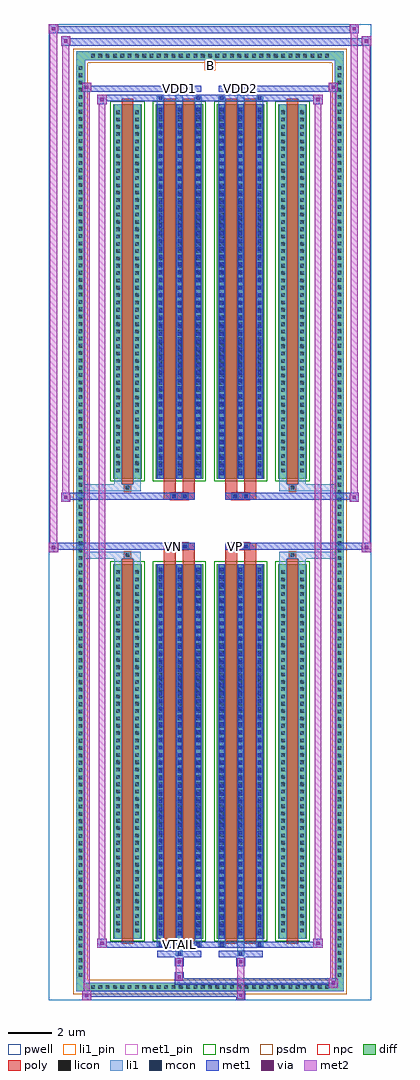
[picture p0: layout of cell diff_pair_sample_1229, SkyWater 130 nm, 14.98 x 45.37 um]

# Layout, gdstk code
import gdstk
lib = gdstk.Library(unit=1e-6, precision=5e-09)
def R(c, l, rs):  # rectangles x0, y0, x1, y1
    for r in rs: c.add(gdstk.rectangle(r[:2], r[2:], *l))
def A(c, l, x, y, w, h, nx, ny, dx, dy):  # array of equal rectangles
    R(c, l, [(x+i*dx, y+j*dy, x+i*dx+w, y+j*dy+h) for i in range(nx) for j in range(ny)])
def P(c, l, *ps):  # polygons
    for p in ps: c.add(gdstk.Polygon(p, *l))
pwell = (64, 44)
diff = (65, 20)
poly = (66, 20)
licon = (66, 44)
li1_pin = (67, 16)
li1 = (67, 20)
mcon = (67, 44)
met1_pin = (68, 16)
met1 = (68, 20)
via = (68, 44)
met2 = (69, 20)
nsdm = (93, 44)
psdm = (94, 20)
npc = (95, 20)

diff_pair_sample_1229 = lib.new_cell('diff_pair_sample_1229')
R(diff_pair_sample_1229, pwell, [(-7.49,-22.25,7.49,23.12), (-4.81,-20.44,-0.01,-0.8), (0.01,-20.44,4.81,-0.8), (-4.81,0.8,-0.01,20.44), (0.01,0.8,4.81,20.44)])
A(diff_pair_sample_1229, diff, -5.645, -21.85, 0.41, 0.41, 33, 2, 0.34, 43.29)
A(diff_pair_sample_1229, diff, -6.22, -21.285, 0.41, 0.41, 1, 125, 0, 0.34)
A(diff_pair_sample_1229, diff, 5.81, -21.285, 0.41, 0.41, 1, 125, 0, 0.34)
R(diff_pair_sample_1229, diff, [(-5.645,-21.85,5.645,-21.44), (-6.22,-21.285,-5.81,21.285), (5.81,-21.285,6.22,21.285), (-4.5,-19.395,-3.17,-1.985), (-2.53,-19.395,-0.32,-1.985), (0.32,-19.395,2.53,-1.985), (3.17,-19.395,4.5,-1.985), (-4.5,1.985,-3.17,19.395), (-2.53,1.985,-0.32,19.395), (0.32,1.985,2.53,19.395), (3.17,1.985,4.5,19.395), (-5.645,21.44,5.645,21.85)])
P(diff_pair_sample_1229, diff, [(6.22,21.85),(-6.22,21.85),(-6.22,-21.44),(-5.81,-21.44),(-5.81,21.44),(5.81,21.44),(5.81,-21.44),(-5.81,-21.44),(-6.22,-21.44),(-6.22,-21.85),(6.22,-21.85)])
R(diff_pair_sample_1229, poly, [(-4.11,-19.645,-3.56,-1.735), (-2.14,-19.645,-1.59,-1.735), (-1.26,-19.645,-0.71,-1.735), (0.71,-19.645,1.26,-1.735), (1.59,-19.645,2.14,-1.735), (3.56,-19.645,4.11,-1.735), (-4,-1.735,-3.67,-1.405), (-4,-1.735,-3.67,-1.405), (-2.14,-1.735,-1.59,-1.33), (-1.26,-1.735,-0.71,-1.33), (0.71,-1.735,1.26,-1.33), (1.59,-1.735,2.14,-1.33), (3.67,-1.735,4,-1.405), (3.67,-1.735,4,-1.405), (-2.14,-1.33,-0.71,-1), (-1.84,-1.33,-1.51,-1), (-1.34,-1.33,-1.01,-1), (0.71,-1.33,2.14,-1), (1.01,-1.33,1.34,-1), (1.51,-1.33,1.84,-1), (-2.14,1,-0.71,1.33), (-1.84,1,-1.51,1.33), (-1.34,1,-1.01,1.33), (0.71,1,2.14,1.33), (1.01,1,1.34,1.33), (1.51,1,1.84,1.33), (-2.14,1.33,-1.59,1.735), (-1.26,1.33,-0.71,1.735), (0.71,1.33,1.26,1.735), (1.59,1.33,2.14,1.735), (-4,1.405,-3.67,1.735), (-4,1.405,-3.67,1.735), (3.67,1.405,4,1.735), (3.67,1.405,4,1.735), (-4.11,1.735,-3.56,19.645), (-2.14,1.735,-1.59,19.645), (-1.26,1.735,-0.71,19.645), (0.71,1.735,1.26,19.645), (1.59,1.735,2.14,19.645), (3.56,1.735,4.11,19.645)])
A(diff_pair_sample_1229, licon, -5.525, -21.73, 0.17, 0.17, 33, 2, 0.34, 43.29)
A(diff_pair_sample_1229, licon, -6.1, -21.165, 0.17, 0.17, 1, 125, 0, 0.34)
A(diff_pair_sample_1229, licon, 5.93, -21.165, 0.17, 0.17, 1, 125, 0, 0.34)
A(diff_pair_sample_1229, licon, -4.36, -19.105, 0.17, 0.17, 1, 50, 0, 0.34)
A(diff_pair_sample_1229, licon, -3.48, -19.105, 0.17, 0.17, 1, 50, 0, 0.34)
A(diff_pair_sample_1229, licon, -2.39, -19.105, 0.17, 0.17, 3, 50, 0.88, 0.34)
A(diff_pair_sample_1229, licon, 0.46, -19.105, 0.17, 0.17, 3, 50, 0.88, 0.34)
A(diff_pair_sample_1229, licon, 3.31, -19.105, 0.17, 0.17, 1, 50, 0, 0.34)
A(diff_pair_sample_1229, licon, 4.19, -19.105, 0.17, 0.17, 1, 50, 0, 0.34)
A(diff_pair_sample_1229, licon, -4.36, 2.275, 0.17, 0.17, 1, 50, 0, 0.34)
A(diff_pair_sample_1229, licon, -3.48, 2.275, 0.17, 0.17, 1, 50, 0, 0.34)
A(diff_pair_sample_1229, licon, -2.39, 2.275, 0.17, 0.17, 3, 50, 0.88, 0.34)
A(diff_pair_sample_1229, licon, 0.46, 2.275, 0.17, 0.17, 3, 50, 0.88, 0.34)
A(diff_pair_sample_1229, licon, 3.31, 2.275, 0.17, 0.17, 1, 50, 0, 0.34)
A(diff_pair_sample_1229, licon, 4.19, 2.275, 0.17, 0.17, 1, 50, 0, 0.34)
R(diff_pair_sample_1229, licon, [(-3.92,-1.655,-3.75,-1.485), (3.75,-1.655,3.92,-1.485), (-1.76,-1.25,-1.59,-1.08), (-1.26,-1.25,-1.09,-1.08), (1.09,-1.25,1.26,-1.08), (1.59,-1.25,1.76,-1.08), (-1.76,1.08,-1.59,1.25), (-1.26,1.08,-1.09,1.25), (1.09,1.08,1.26,1.25), (1.59,1.08,1.76,1.25), (-3.92,1.485,-3.75,1.655), (3.75,1.485,3.92,1.655)])
R(diff_pair_sample_1229, li1_pin, [(-0.25,20.94,0.25,21.44)])
A(diff_pair_sample_1229, li1, -5.605, -21.81, 0.33, 0.33, 33, 2, 0.34, 43.29)
A(diff_pair_sample_1229, li1, -6.18, -21.245, 0.33, 0.33, 1, 125, 0, 0.34)
A(diff_pair_sample_1229, li1, 5.85, -21.245, 0.33, 0.33, 1, 125, 0, 0.34)
A(diff_pair_sample_1229, li1, -2.47, -19.395, 0.33, 17.41, 3, 2, 0.88, 21.38)
A(diff_pair_sample_1229, li1, 0.38, -19.395, 0.33, 17.41, 3, 2, 0.88, 21.38)
A(diff_pair_sample_1229, li1, -2.39, -19.235, 0.17, 0.17, 3, 48, 0.88, 0.36)
A(diff_pair_sample_1229, li1, -2.39, -19.235, 0.17, 17.09, 3, 2, 0.88, 21.38)
A(diff_pair_sample_1229, li1, 0.46, -19.235, 0.17, 0.17, 3, 48, 0.88, 0.36)
A(diff_pair_sample_1229, li1, 0.46, -19.235, 0.17, 17.09, 3, 2, 0.88, 21.38)
A(diff_pair_sample_1229, li1, -4.44, -19.185, 0.33, 0.33, 1, 50, 0, 0.34)
A(diff_pair_sample_1229, li1, -3.56, -19.185, 0.33, 0.33, 1, 50, 0, 0.34)
A(diff_pair_sample_1229, li1, -2.47, -19.185, 0.33, 0.33, 3, 50, 0.88, 0.34)
A(diff_pair_sample_1229, li1, 0.38, -19.185, 0.33, 0.33, 3, 50, 0.88, 0.34)
A(diff_pair_sample_1229, li1, 3.23, -19.185, 0.33, 0.33, 1, 50, 0, 0.34)
A(diff_pair_sample_1229, li1, 4.11, -19.185, 0.33, 0.33, 1, 50, 0, 0.34)
A(diff_pair_sample_1229, li1, -2.39, 2.145, 0.17, 0.17, 3, 48, 0.88, 0.36)
A(diff_pair_sample_1229, li1, 0.46, 2.145, 0.17, 0.17, 3, 48, 0.88, 0.36)
A(diff_pair_sample_1229, li1, -4.44, 2.195, 0.33, 0.33, 1, 50, 0, 0.34)
A(diff_pair_sample_1229, li1, -3.56, 2.195, 0.33, 0.33, 1, 50, 0, 0.34)
A(diff_pair_sample_1229, li1, -2.47, 2.195, 0.33, 0.33, 3, 50, 0.88, 0.34)
A(diff_pair_sample_1229, li1, 0.38, 2.195, 0.33, 0.33, 3, 50, 0.88, 0.34)
A(diff_pair_sample_1229, li1, 3.23, 2.195, 0.33, 0.33, 1, 50, 0, 0.34)
A(diff_pair_sample_1229, li1, 4.11, 2.195, 0.33, 0.33, 1, 50, 0, 0.34)
R(diff_pair_sample_1229, li1, [(-6.22,-21.85,-5.81,-21.44), (-6.22,-21.85,-5.81,-21.44), (-5.81,-21.85,5.81,-21.44), (5.81,-21.85,6.22,-21.44), (5.81,-21.85,6.22,-21.44), (-6.22,-21.44,-5.81,21.44), (5.81,-21.44,6.22,21.44), (-1.59,-20.2,-1.26,-19.395), (-1.51,-20.2,-1.34,-20.03), (1.26,-20.2,1.59,-19.395), (1.34,-20.2,1.51,-20.03), (-2.47,-19.77,-2.14,-19.395), (-2.39,-19.77,-2.22,-19.6), (-0.71,-19.77,-0.38,-19.395), (-0.63,-19.77,-0.46,-19.6), (0.38,-19.77,0.71,-19.395), (0.46,-19.77,0.63,-19.6), (2.14,-19.77,2.47,-19.395), (2.22,-19.77,2.39,-19.6), (-4.44,-19.395,-4.11,-1.985), (-3.56,-19.395,-3.23,-1.985), (3.23,-19.395,3.56,-1.985), (4.11,-19.395,4.44,-1.985), (-4.44,-1.985,-4.11,-1.405), (-3.56,-1.985,-3.23,-1.405), (3.23,-1.985,3.56,-1.405), (4.11,-1.985,4.44,-1.405), (-6.22,-1.735,-4,-1.405), (-4.44,-1.735,-4,-1.405), (-4,-1.735,-3.67,-1.405), (-3.67,-1.735,-3.23,-1.405), (3.23,-1.735,3.67,-1.405), (3.67,-1.735,4,-1.405), (3.67,-1.735,6.22,-1.405), (4,-1.735,4.44,-1.405), (-1.84,-1.33,-1.51,-1), (-1.34,-1.33,-1.01,-1), (1.01,-1.33,1.34,-1), (1.51,-1.33,1.84,-1), (-1.84,1,-1.51,1.33), (-1.34,1,-1.01,1.33), (1.01,1,1.34,1.33), (1.51,1,1.84,1.33), (-6.22,1.405,-4,1.735), (-4.44,1.405,-4,1.735), (-4.44,1.405,-4.11,1.985), (-4,1.405,-3.67,1.735), (-3.67,1.405,-3.23,1.735), (-3.56,1.405,-3.23,1.985), (3.23,1.405,3.67,1.735), (3.23,1.405,3.56,1.985), (3.67,1.405,4,1.735), (3.67,1.405,6.22,1.735), (4,1.405,4.44,1.735), (4.11,1.405,4.44,1.985), (-4.44,1.985,-4.11,19.395), (-3.56,1.985,-3.23,19.395), (3.23,1.985,3.56,19.395), (4.11,1.985,4.44,19.395), (-2.47,19.395,-2.14,19.77), (-1.59,19.395,-1.26,20.2), (-0.71,19.395,-0.38,19.77), (0.38,19.395,0.71,19.77), (1.26,19.395,1.59,20.2), (2.14,19.395,2.47,19.77), (-2.39,19.6,-2.22,19.77), (-0.63,19.6,-0.46,19.77), (0.46,19.6,0.63,19.77), (2.22,19.6,2.39,19.77), (-1.51,20.03,-1.34,20.2), (1.34,20.03,1.51,20.2), (-6.22,21.44,-5.81,21.85), (-6.22,21.44,-5.81,21.85), (-5.81,21.44,5.81,21.85), (5.81,21.44,6.22,21.85), (5.81,21.44,6.22,21.85)])
A(diff_pair_sample_1229, mcon, -2.39, -19.235, 0.17, 0.17, 3, 48, 0.88, 0.36)
A(diff_pair_sample_1229, mcon, 0.46, -19.235, 0.17, 0.17, 3, 48, 0.88, 0.36)
A(diff_pair_sample_1229, mcon, -2.39, 2.145, 0.17, 0.17, 3, 48, 0.88, 0.36)
A(diff_pair_sample_1229, mcon, 0.46, 2.145, 0.17, 0.17, 3, 48, 0.88, 0.36)
R(diff_pair_sample_1229, mcon, [(-1.51,-20.2,-1.34,-20.03), (1.34,-20.2,1.51,-20.03), (-2.39,-19.77,-2.22,-19.6), (-0.63,-19.77,-0.46,-19.6), (0.46,-19.77,0.63,-19.6), (2.22,-19.77,2.39,-19.6), (-1.76,-1.25,-1.59,-1.08), (-1.26,-1.25,-1.09,-1.08), (1.09,-1.25,1.26,-1.08), (1.59,-1.25,1.76,-1.08), (-1.76,1.08,-1.59,1.25), (-1.26,1.08,-1.09,1.25), (1.09,1.08,1.26,1.25), (1.59,1.08,1.76,1.25), (-2.39,19.6,-2.22,19.77), (-0.63,19.6,-0.46,19.77), (0.46,19.6,0.63,19.77), (2.22,19.6,2.39,19.77), (-1.51,20.03,-1.34,20.2), (1.34,20.03,1.51,20.2)])
R(diff_pair_sample_1229, met1_pin, [(-1.56,-19.81,-1.29,-19.54), (-1.81,-1.29,-1.54,-1.02), (1.04,-1.29,1.31,-1.02), (-1.56,19.99,-1.29,20.26), (1.29,19.99,1.56,20.26)])
A(diff_pair_sample_1229, met1, -2.45, -19.395, 0.29, 17.41, 3, 2, 0.88, 21.38)
A(diff_pair_sample_1229, met1, 0.4, -19.395, 0.29, 17.41, 3, 2, 0.88, 21.38)
A(diff_pair_sample_1229, met1, -2.45, -19.295, 0.29, 0.29, 3, 48, 0.88, 0.36)
A(diff_pair_sample_1229, met1, 0.4, -19.295, 0.29, 0.29, 3, 48, 0.88, 0.36)
A(diff_pair_sample_1229, met1, -2.45, 2.085, 0.29, 0.29, 3, 48, 0.88, 0.36)
A(diff_pair_sample_1229, met1, 0.4, 2.085, 0.29, 0.29, 3, 48, 0.88, 0.36)
R(diff_pair_sample_1229, met1, [(-5.95,-22.25,-5.52,-21.82), (1.21,-22.25,1.64,-21.82), (-5.95,-22.11,1.64,-21.82), (5.52,-21.68,5.95,-21.25), (-1.64,-21.54,5.95,-21.25), (-1.64,-21.4,-1.21,-20.97), (-1.64,-20.69,-1.21,-20.26), (1.21,-20.69,1.64,-20.26), (-2.45,-20.26,-0.4,-19.97), (-1.57,-20.26,-1.28,-19.97), (0.4,-20.26,2.45,-19.97), (1.28,-20.26,1.57,-19.97), (-5.24,-19.83,-4.81,-19.4), (-5.24,-19.83,-2.45,-19.54), (-2.45,-19.83,-2.16,-19.54), (-2.45,-19.83,-0.4,-19.54), (-0.69,-19.83,-0.4,-19.54), (-0.4,-19.83,0.4,-19.54), (0.4,-19.83,0.69,-19.54), (0.4,-19.83,2.45,-19.54), (2.16,-19.83,2.45,-19.54), (2.45,-19.83,5.24,-19.54), (4.81,-19.83,5.24,-19.4), (-7.49,-1.43,-7.06,-1), (7.06,-1.43,7.49,-1), (-7.49,-1.33,-0.71,-1), (-2.14,-1.33,-0.71,-1), (0.71,-1.33,2.14,-1), (0.71,-1.33,7.49,-1), (-1.82,-1.31,-1.53,-1.02), (-1.32,-1.31,-1.03,-1.02), (1.03,-1.31,1.32,-1.02), (1.53,-1.31,1.82,-1.02), (-6.92,0.9,-6.49,1.33), (6.49,0.9,6.92,1.33), (-6.92,1,-2.14,1.33), (-2.14,1,-0.71,1.33), (0.71,1,2.14,1.33), (2.14,1,6.92,1.33), (-1.82,1.02,-1.53,1.31), (-1.32,1.02,-1.03,1.31), (1.03,1.02,1.32,1.31), (1.53,1.02,1.82,1.31), (-5.24,19.4,-4.81,19.83), (4.81,19.4,5.24,19.83), (-5.24,19.54,-2.45,19.83), (-2.45,19.54,-2.16,19.83), (-2.45,19.54,-0.4,19.83), (-0.69,19.54,-0.4,19.83), (-0.4,19.54,0.4,19.83), (0.4,19.54,0.69,19.83), (0.4,19.54,2.45,19.83), (2.16,19.54,2.45,19.83), (2.45,19.54,5.24,19.83), (-5.95,19.97,-5.52,20.4), (-5.95,19.97,-2.45,20.26), (-2.45,19.97,-0.4,20.26), (-1.57,19.97,-1.28,20.26), (0.4,19.97,2.45,20.26), (1.28,19.97,1.57,20.26), (2.45,19.97,5.95,20.26), (5.52,19.97,5.95,20.4), (-6.92,22.12,-6.49,22.55), (-6.92,22.12,-4.81,22.45), (-4.81,22.12,4.81,22.45), (4.81,22.12,7.49,22.45), (7.06,22.12,7.49,22.55), (-7.49,22.69,-7.06,23.12), (-7.49,22.69,-4.81,23.02), (-4.81,22.69,4.81,23.02), (4.81,22.69,6.92,23.02), (6.49,22.69,6.92,23.12)])
R(diff_pair_sample_1229, via, [(-5.81,-22.11,-5.66,-21.96), (1.35,-22.11,1.5,-21.96), (5.66,-21.54,5.81,-21.39), (-1.5,-21.26,-1.35,-21.11), (-1.5,-20.55,-1.35,-20.4), (1.35,-20.55,1.5,-20.4), (-5.1,-19.69,-4.95,-19.54), (4.95,-19.69,5.1,-19.54), (-7.35,-1.29,-7.2,-1.14), (7.2,-1.29,7.35,-1.14), (-6.78,1.04,-6.63,1.19), (6.63,1.04,6.78,1.19), (-5.1,19.54,-4.95,19.69), (4.95,19.54,5.1,19.69), (-5.81,20.11,-5.66,20.26), (5.66,20.11,5.81,20.26), (-6.78,22.26,-6.63,22.41), (7.2,22.26,7.35,22.41), (-7.35,22.83,-7.2,22.98), (6.63,22.83,6.78,22.98)])
R(diff_pair_sample_1229, met2, [(-5.95,-22.25,-5.52,-21.82), (-5.88,-22.25,-5.59,20.4), (-5.59,-22.25,-5.52,-21.82), (-5.9,-22.2,-5.57,-21.87), (1.26,-22.2,1.59,-21.87), (1.26,-21.87,1.59,-20.64), (5.52,-21.68,5.95,-21.25), (5.59,-21.68,5.88,20.4), (5.88,-21.68,5.95,-21.25), (5.57,-21.63,5.9,-21.3), (-1.59,-21.35,-1.26,-21.02), (-1.59,-21.02,-1.26,-20.64), (-1.59,-20.64,-1.26,-20.31), (1.26,-20.64,1.59,-20.31), (-5.24,-19.83,-4.81,-19.4), (-5.17,-19.83,-4.88,19.83), (-4.88,-19.83,-4.81,-19.4), (4.81,-19.83,5.24,-19.4), (4.88,-19.83,5.17,19.83), (5.17,-19.83,5.24,-19.4), (-5.19,-19.78,-4.86,-19.45), (4.86,-19.78,5.19,-19.45), (-7.49,-1.43,-7.06,-1), (-7.44,-1.43,-7.11,23.12), (-7.11,-1.43,-7.06,-1), (7.06,-1.43,7.49,-1), (7.11,-1.43,7.44,22.55), (7.44,-1.43,7.49,-1), (-7.44,-1.38,-7.11,-1.05), (7.11,-1.38,7.44,-1.05), (-6.92,0.9,-6.49,1.33), (-6.87,0.9,-6.54,22.55), (-6.54,0.9,-6.49,1.33), (6.49,0.9,6.92,1.33), (6.54,0.9,6.87,23.12), (6.87,0.9,6.92,1.33), (-6.87,0.95,-6.54,1.28), (6.54,0.95,6.87,1.28), (-5.24,19.4,-4.81,19.83), (-4.88,19.4,-4.81,19.83), (4.81,19.4,5.24,19.83), (5.17,19.4,5.24,19.83), (-5.19,19.45,-4.86,19.78), (4.86,19.45,5.19,19.78), (-5.95,19.97,-5.52,20.4), (-5.59,19.97,-5.52,20.4), (5.52,19.97,5.95,20.4), (5.88,19.97,5.95,20.4), (-5.9,20.02,-5.57,20.35), (5.57,20.02,5.9,20.35), (-6.92,22.12,-6.49,22.55), (-6.54,22.12,-6.49,22.55), (7.06,22.12,7.49,22.55), (7.44,22.12,7.49,22.55), (-6.87,22.17,-6.54,22.5), (7.11,22.17,7.44,22.5), (-7.49,22.69,-7.06,23.12), (-7.11,22.69,-7.06,23.12), (6.49,22.69,6.92,23.12), (6.87,22.69,6.92,23.12), (-7.44,22.74,-7.11,23.07), (6.54,22.74,6.87,23.07)])
R(diff_pair_sample_1229, nsdm, [(-4.63,-19.525,-3.04,-1.855), (-2.66,-19.525,-0.19,-1.855), (0.19,-19.525,2.66,-1.855), (3.04,-19.525,4.63,-1.855), (-4.63,1.855,-3.04,19.525), (-2.66,1.855,-0.19,19.525), (0.19,1.855,2.66,19.525), (3.04,1.855,4.63,19.525)])
P(diff_pair_sample_1229, psdm, [(6.35,21.98),(-6.35,21.98),(-6.35,-21.31),(-5.68,-21.31),(-5.68,21.31),(5.68,21.31),(5.68,-21.31),(-5.68,-21.31),(-6.35,-21.31),(-6.35,-21.98),(6.35,-21.98)])
R(diff_pair_sample_1229, npc, [(-4.02,-1.755,-3.65,-1.385), (3.65,-1.755,4.02,-1.385), (-1.86,-1.35,-1.49,-0.98), (-1.86,-1.35,-0.99,-0.98), (-1.86,-1.35,-0.99,-0.98), (-1.36,-1.35,-0.99,-0.98), (0.99,-1.35,1.36,-0.98), (0.99,-1.35,1.86,-0.98), (0.99,-1.35,1.86,-0.98), (1.49,-1.35,1.86,-0.98), (-1.86,0.98,-1.49,1.35), (-1.86,0.98,-0.99,1.35), (-1.86,0.98,-0.99,1.35), (-1.36,0.98,-0.99,1.35), (0.99,0.98,1.36,1.35), (0.99,0.98,1.86,1.35), (0.99,0.98,1.86,1.35), (1.49,0.98,1.86,1.35), (-4.02,1.385,-3.65,1.755), (3.65,1.385,4.02,1.755)])
diff_pair_sample_1229.add(gdstk.Label('VTAIL', (-1.425,-19.675), layer=68, texttype=5))
diff_pair_sample_1229.add(gdstk.Label('VN', (-1.675,-1.155), layer=68, texttype=5))
diff_pair_sample_1229.add(gdstk.Label('VP', (1.175,-1.155), layer=68, texttype=5))
diff_pair_sample_1229.add(gdstk.Label('B', (0,21.19), layer=67, texttype=5))
diff_pair_sample_1229.add(gdstk.Label('VDD2', (1.425,20.125), layer=68, texttype=5))
diff_pair_sample_1229.add(gdstk.Label('VDD1', (-1.425,20.125), layer=68, texttype=5))

lib.write_gds('diff_pair_sample_1229.gds')
